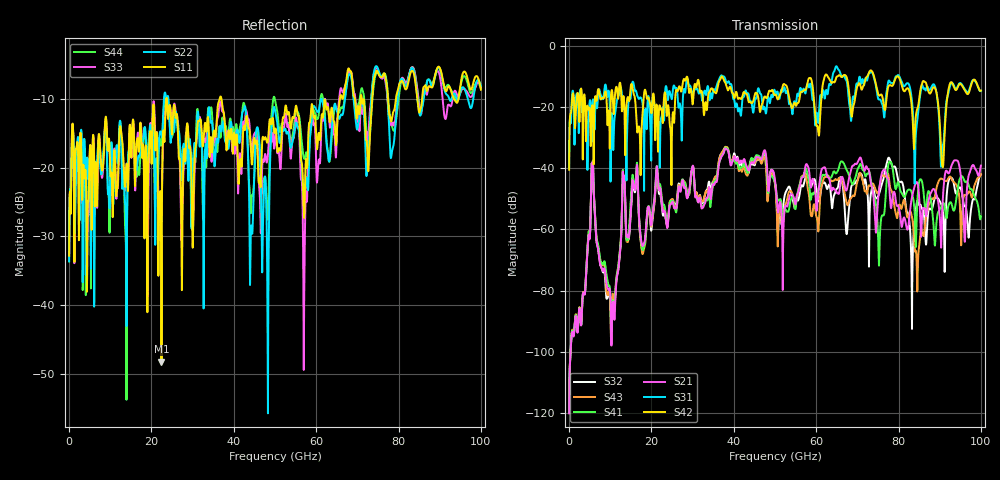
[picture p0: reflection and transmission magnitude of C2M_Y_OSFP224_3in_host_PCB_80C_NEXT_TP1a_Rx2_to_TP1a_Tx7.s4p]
# GHz S RI R 45
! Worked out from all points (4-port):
!   4000 points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, 25 MHz to 100 GHz, reference 45 ohm
!   strongest paths, dB at 25 MHz, 25.02 GHz, 50.02 GHz, 75.03 GHz, 100 GHz:
!     S42: -40.5, -26.4, -15.9, -15.6, -14.6
!     S31: -39.7, -17.0, -14.9, -17.0, -14.7
!     S21: -120.2, -51.1, -44.0, -50.7, -39.1
!     S41: -119.8, -50.7, -44.8, -61.5, -55.7
!     S43: -119.4, -50.0, -45.3, -48.1, -41.8
!     S32: -119.9, -50.3, -44.7, -49.2, -42.0
!   lowest |S11| = -48.2 dB at 22.45 GHz (marker M1), VSWR 1.01, Z = 45.3 - j0.197 ohm
!   |S11| at or under -10 dB: start of sweep to 23.61 GHz; 23.76 GHz to 36.56 GHz (12.8 GHz wide, 42.4 % of centre); 37.02 GHz to 65.77 GHz (28.75 GHz wide, 55.9 % of centre) (the widest 3 of 8)
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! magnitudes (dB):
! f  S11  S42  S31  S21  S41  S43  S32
! 25 MHz  -32.8  -40.5  -39.7  -120.2  -119.8  -119.4  -119.9
! 5.75 GHz  -16.3  -20.0  -18.1  -38.4  -38.1  -38.1  -38.3
! 10.47 GHz  -23.4  -14.7  -22.8  -87.3  -85.7  -82.1  -83.7
! 13.25 GHz  -19.3  -16.5  -19.8  -43.9  -43.7  -43.6  -43.8
! 22.45 GHz  -48.2  -20.7  -23.2  -50.0  -48.7  -50.2  -51.4
! 84.45 GHz  -9.3  -21.0  -25.6  -44.5  -54.3  -73.3  -51.2
! 100 GHz  -8.6  -14.6  -14.7  -39.1  -55.7  -41.8  -42.0
